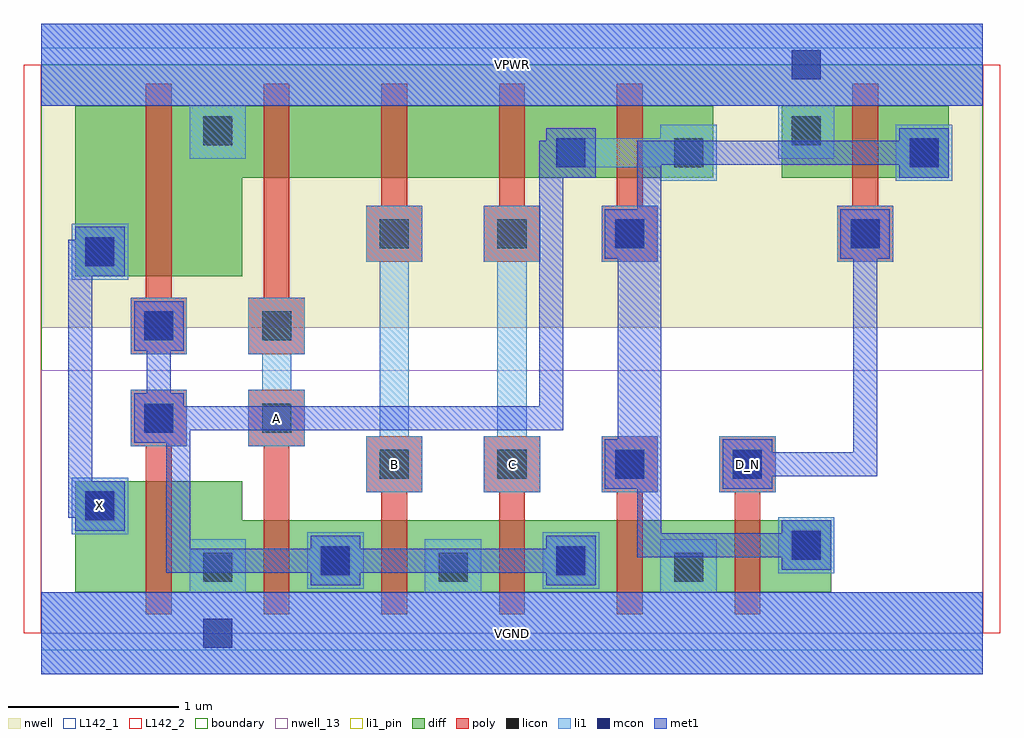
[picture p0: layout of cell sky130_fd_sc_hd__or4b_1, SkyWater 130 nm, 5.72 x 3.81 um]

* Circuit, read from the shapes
.subckt sky130_fd_sc_hd__or4b_1 A B C D_N VGND VPWR X
XM1 VGND n1 X VSUBS sky130_fd_pr__nfet_01v8 w=0.65 l=0.15
XM2 n1 A VGND VSUBS sky130_fd_pr__nfet_01v8 w=0.42 l=0.15
XM3 VGND B n1 VSUBS sky130_fd_pr__nfet_01v8 w=0.42 l=0.15
XM4 n1 C VGND VSUBS sky130_fd_pr__nfet_01v8 w=0.42 l=0.15
XM5 VGND n2 n1 VSUBS sky130_fd_pr__nfet_01v8 w=0.42 l=0.15
XM6 n2 D_N VGND VSUBS sky130_fd_pr__nfet_01v8 w=0.42 l=0.15
XM7 VPWR n1 X n3 sky130_fd_pr__pfet_01v8 w=1 l=0.15
XM8 n4 A VPWR n3 sky130_fd_pr__pfet_01v8 w=0.42 l=0.15
XM9 n5 B n4 n3 sky130_fd_pr__pfet_01v8 w=0.42 l=0.15
XM10 n6 C n5 n3 sky130_fd_pr__pfet_01v8 w=0.42 l=0.15
XM11 n1 n2 n6 n3 sky130_fd_pr__pfet_01v8 w=0.42 l=0.15
XM12 n2 D_N VPWR n3 sky130_fd_pr__pfet_01v8 w=0.42 l=0.15
.ends

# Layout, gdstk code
import gdstk
lib = gdstk.Library(unit=1e-6, precision=1e-09)
def R(c, l, rs):  # rectangles x0, y0, x1, y1
    for r in rs: c.add(gdstk.rectangle(r[:2], r[2:], *l))
def A(c, l, x, y, w, h, nx, ny, dx, dy):  # array of equal rectangles
    R(c, l, [(x+i*dx, y+j*dy, x+i*dx+w, y+j*dy+h) for i in range(nx) for j in range(ny)])
def P(c, l, *ps):  # polygons
    for p in ps: c.add(gdstk.Polygon(p, *l))
nwell_13 = (64, 13)
nwell = (64, 20)
diff = (65, 20)
poly = (66, 20)
licon = (66, 44)
li1_pin = (67, 16)
li1 = (67, 20)
mcon = (67, 44)
met1 = (68, 20)
L142_1 = (142, 1)
L142_2 = (142, 2)
boundary = (235, 4)

sky130_fd_sc_hd__or4b_1 = lib.new_cell('sky130_fd_sc_hd__or4b_1')
R(sky130_fd_sc_hd__or4b_1, nwell_13, [(0,0,5.52,1.54)])
R(sky130_fd_sc_hd__or4b_1, nwell, [(0,1.79,5.52,3.33)])
A(sky130_fd_sc_hd__or4b_1, diff, 1.305, 0.24, 0.69, 0.42, 4, 1, 0.69, 0)
A(sky130_fd_sc_hd__or4b_1, diff, 1.305, 2.67, 0.69, 0.42, 3, 1, 0.69, 0)
R(sky130_fd_sc_hd__or4b_1, diff, [(0.2,0.24,0.615,0.89), (4.065,0.24,4.63,0.66), (0.2,2.09,0.615,3.09), (3.375,2.67,3.94,3.09), (4.34,2.67,5.32,3.09), (4.34,2.67,4.755,3.09), (4.755,2.67,5.32,3.09)])
P(sky130_fd_sc_hd__or4b_1, diff, [(0.2,0.24),(0.2,0.89),(1.18,0.89),(1.18,0.66),(4.63,0.66),(4.63,0.24)],
  [(0.615,0.24),(0.615,0.89),(1.18,0.89),(1.18,0.66),(1.305,0.66),(1.305,0.24)],
  [(0.2,2.09),(0.2,3.09),(3.94,3.09),(3.94,2.67),(1.18,2.67),(1.18,2.09)],
  [(0.615,2.09),(0.615,3.09),(1.305,3.09),(1.305,2.67),(1.18,2.67),(1.18,2.09)])
P(sky130_fd_sc_hd__or4b_1, poly, [(1.995,0.11),(1.995,0.825),(1.905,0.825),(1.905,1.155),(2.235,1.155),(2.235,0.825),(2.145,0.825),(2.145,0.11)],
  [(1.905,2.175),(1.905,2.505),(1.995,2.505),(1.995,3.22),(2.145,3.22),(2.145,2.505),(2.235,2.505),(2.235,2.175)],
  [(0.615,0.11),(0.615,1.095),(0.525,1.095),(0.525,1.425),(0.855,1.425),(0.855,1.095),(0.765,1.095),(0.765,0.11)],
  [(0.525,1.635),(0.525,1.965),(0.615,1.965),(0.615,3.22),(0.765,3.22),(0.765,1.965),(0.855,1.965),(0.855,1.635)],
  [(3.375,0.11),(3.375,0.825),(3.285,0.825),(3.285,1.155),(3.615,1.155),(3.615,0.825),(3.525,0.825),(3.525,0.11)],
  [(3.285,2.175),(3.285,2.505),(3.375,2.505),(3.375,3.22),(3.525,3.22),(3.525,2.505),(3.615,2.505),(3.615,2.175)],
  [(4.065,0.11),(4.065,0.825),(3.975,0.825),(3.975,1.155),(4.305,1.155),(4.305,0.825),(4.215,0.825),(4.215,0.11)],
  [(4.665,2.175),(4.665,2.505),(4.755,2.505),(4.755,3.22),(4.905,3.22),(4.905,2.505),(4.995,2.505),(4.995,2.175)],
  [(2.685,0.11),(2.685,0.825),(2.595,0.825),(2.595,1.155),(2.925,1.155),(2.925,0.825),(2.835,0.825),(2.835,0.11)],
  [(2.595,2.175),(2.595,2.505),(2.685,2.505),(2.685,3.22),(2.835,3.22),(2.835,2.505),(2.925,2.505),(2.925,2.175)],
  [(1.305,0.11),(1.305,1.095),(1.215,1.095),(1.215,1.425),(1.545,1.425),(1.545,1.095),(1.455,1.095),(1.455,0.11)],
  [(1.215,1.635),(1.215,1.965),(1.305,1.965),(1.305,3.22),(1.455,3.22),(1.455,1.965),(1.545,1.965),(1.545,1.635)])
A(sky130_fd_sc_hd__or4b_1, licon, 0.95, 0.3, 0.17, 0.17, 3, 1, 1.38, 0)
A(sky130_fd_sc_hd__or4b_1, licon, 1.985, 0.905, 0.17, 0.17, 4, 1, 0.69, 0)
A(sky130_fd_sc_hd__or4b_1, licon, 1.985, 2.255, 0.17, 0.17, 3, 1, 0.69, 0)
R(sky130_fd_sc_hd__or4b_1, licon, [(1.64,0.34,1.81,0.51), (3.02,0.34,3.19,0.51), (4.4,0.43,4.57,0.6), (0.26,0.66,0.43,0.83), (0.605,1.175,0.775,1.345), (1.295,1.175,1.465,1.345), (0.605,1.715,0.775,1.885), (1.295,1.715,1.465,1.885), (0.26,2.15,0.43,2.32), (4.745,2.255,4.915,2.425), (3.71,2.73,3.88,2.9), (5.09,2.73,5.26,2.9), (0.95,2.86,1.12,3.03), (4.4,2.86,4.57,3.03)])
R(sky130_fd_sc_hd__or4b_1, li1_pin, [(0,-0.24,5.52,0.24), (0.18,0.58,0.51,0.91), (3.975,0.825,4.305,1.155), (0,3.09,5.52,3.57)])
P(sky130_fd_sc_hd__or4b_1, li1_pin, [(1.215,1.095),(1.215,1.425),(1.295,1.425),(1.295,1.635),(1.215,1.635),(1.215,1.965),(1.545,1.965),(1.545,1.635),(1.465,1.635),(1.465,1.425),(1.545,1.425),(1.545,1.095)],
  [(2.595,0.825),(2.595,1.155),(2.675,1.155),(2.675,2.175),(2.595,2.175),(2.595,2.505),(2.925,2.505),(2.925,2.175),(2.845,2.175),(2.845,1.155),(2.925,1.155),(2.925,0.825)],
  [(1.905,0.825),(1.905,1.155),(1.985,1.155),(1.985,2.175),(1.905,2.175),(1.905,2.505),(2.235,2.505),(2.235,2.175),(2.155,2.175),(2.155,1.155),(2.235,1.155),(2.235,0.825)])
R(sky130_fd_sc_hd__or4b_1, li1, [(1.56,0.26,1.89,0.59), (2.94,0.26,3.27,0.59), (4.32,0.35,4.65,0.68), (0.18,0.58,0.51,0.91), (3.285,0.825,3.615,1.155), (3.975,0.825,4.305,1.155), (0.525,1.095,0.855,1.425), (0.525,1.635,0.855,1.965), (0.18,2.07,0.51,2.4), (3.285,2.175,3.615,2.505), (4.665,2.175,4.995,2.505), (5.01,2.65,5.34,2.98)])
P(sky130_fd_sc_hd__or4b_1, li1, [(1.905,0.825),(1.905,1.155),(1.985,1.155),(1.985,2.175),(1.905,2.175),(1.905,2.505),(2.235,2.505),(2.235,2.175),(2.155,2.175),(2.155,1.155),(2.235,1.155),(2.235,0.825)],
  [(3.63,2.65),(3.63,2.73),(3.02,2.73),(3.02,2.9),(3.63,2.9),(3.63,2.98),(3.96,2.98),(3.96,2.65)],
  [(0.87,2.78),(0.87,3.09),(0,3.09),(0,3.57),(5.52,3.57),(5.52,3.09),(4.65,3.09),(4.65,2.78),(4.32,2.78),(4.32,3.09),(1.2,3.09),(1.2,2.78)],
  [(2.595,0.825),(2.595,1.155),(2.675,1.155),(2.675,2.175),(2.595,2.175),(2.595,2.505),(2.925,2.505),(2.925,2.175),(2.845,2.175),(2.845,1.155),(2.925,1.155),(2.925,0.825)],
  [(0,-0.24),(0,0.24),(0.87,0.24),(0.87,0.55),(1.2,0.55),(1.2,0.24),(2.25,0.24),(2.25,0.55),(2.58,0.55),(2.58,0.24),(3.63,0.24),(3.63,0.55),(3.96,0.55),(3.96,0.24),(5.52,0.24),(5.52,-0.24)],
  [(1.215,1.095),(1.215,1.425),(1.295,1.425),(1.295,1.635),(1.215,1.635),(1.215,1.965),(1.545,1.965),(1.545,1.635),(1.465,1.635),(1.465,1.425),(1.545,1.425),(1.545,1.095)])
R(sky130_fd_sc_hd__or4b_1, mcon, [(0.95,-0.085,1.12,0.085), (1.64,0.34,1.81,0.51), (3.02,0.34,3.19,0.51), (4.4,0.43,4.57,0.6), (0.26,0.66,0.43,0.83), (3.365,0.905,3.535,1.075), (4.055,0.905,4.225,1.075), (0.605,1.175,0.775,1.345), (0.605,1.715,0.775,1.885), (0.26,2.15,0.43,2.32), (3.365,2.255,3.535,2.425), (4.745,2.255,4.915,2.425), (3.02,2.73,3.19,2.9), (5.09,2.73,5.26,2.9), (4.4,3.245,4.57,3.415)])
R(sky130_fd_sc_hd__or4b_1, met1, [(0,-0.24,5.52,0.24), (0,3.09,5.52,3.57)])
P(sky130_fd_sc_hd__or4b_1, met1, [(1.58,0.28),(1.58,0.355),(0.735,0.355),(0.735,1.115),(0.545,1.115),(0.545,1.405),(0.62,1.405),(0.62,1.655),(0.545,1.655),(0.545,1.945),(0.835,1.945),(0.835,1.655),(0.76,1.655),(0.76,1.405),(0.835,1.405),(0.835,1.33),(2.92,1.33),(2.92,2.885),(2.96,2.885),(2.96,2.96),(3.25,2.96),(3.25,2.67),(3.06,2.67),(3.06,1.19),(0.875,1.19),(0.875,0.495),(1.58,0.495),(1.58,0.57),(1.87,0.57),(1.87,0.495),(2.96,0.495),(2.96,0.57),(3.25,0.57),(3.25,0.28),(2.96,0.28),(2.96,0.355),(1.87,0.355),(1.87,0.28)],
  [(4.34,0.37),(4.34,0.445),(3.495,0.445),(3.495,0.845),(3.305,0.845),(3.305,1.135),(3.38,1.135),(3.38,2.195),(3.305,2.195),(3.305,2.485),(3.495,2.485),(3.495,2.885),(5.03,2.885),(5.03,2.96),(5.32,2.96),(5.32,2.67),(5.03,2.67),(5.03,2.745),(3.635,2.745),(3.635,0.585),(4.34,0.585),(4.34,0.66),(4.63,0.66),(4.63,0.37)],
  [(3.995,0.845),(3.995,1.135),(4.285,1.135),(4.285,1.06),(4.76,1.06),(4.76,2.195),(4.685,2.195),(4.685,2.485),(4.975,2.485),(4.975,2.195),(4.9,2.195),(4.9,0.92),(4.285,0.92),(4.285,0.845)],
  [(0.2,0.6),(0.2,0.675),(0.16,0.675),(0.16,2.305),(0.2,2.305),(0.2,2.38),(0.49,2.38),(0.49,2.09),(0.3,2.09),(0.3,0.89),(0.49,0.89),(0.49,0.6)])
R(sky130_fd_sc_hd__or4b_1, L142_1, [(0,-0.1,5.52,0), (0,3.33,5.52,3.43)])
R(sky130_fd_sc_hd__or4b_1, L142_2, [(-0.1,0,0,3.33), (5.52,0,5.62,3.33)])
R(sky130_fd_sc_hd__or4b_1, boundary, [(0,0,5.52,3.33)])
sky130_fd_sc_hd__or4b_1.add(gdstk.Label('X', (0.345,0.745), layer=67, texttype=5))
sky130_fd_sc_hd__or4b_1.add(gdstk.Label('D_N', (4.14,0.99), layer=67, texttype=5))
sky130_fd_sc_hd__or4b_1.add(gdstk.Label('A', (1.38,1.26), layer=67, texttype=5))
sky130_fd_sc_hd__or4b_1.add(gdstk.Label('C', (2.76,0.99), layer=67, texttype=5))
sky130_fd_sc_hd__or4b_1.add(gdstk.Label('B', (2.07,0.99), layer=67, texttype=5))
sky130_fd_sc_hd__or4b_1.add(gdstk.Label('VGND', (2.76,0), layer=67, texttype=5))
sky130_fd_sc_hd__or4b_1.add(gdstk.Label('VPWR', (2.76,3.33), layer=67, texttype=5))
sky130_fd_sc_hd__or4b_1.add(gdstk.Label('VGND', (2.76,0), layer=68, texttype=5))
sky130_fd_sc_hd__or4b_1.add(gdstk.Label('VPWR', (2.76,3.33), layer=68, texttype=5))

lib.write_gds('sky130_fd_sc_hd__or4b_1.gds')
